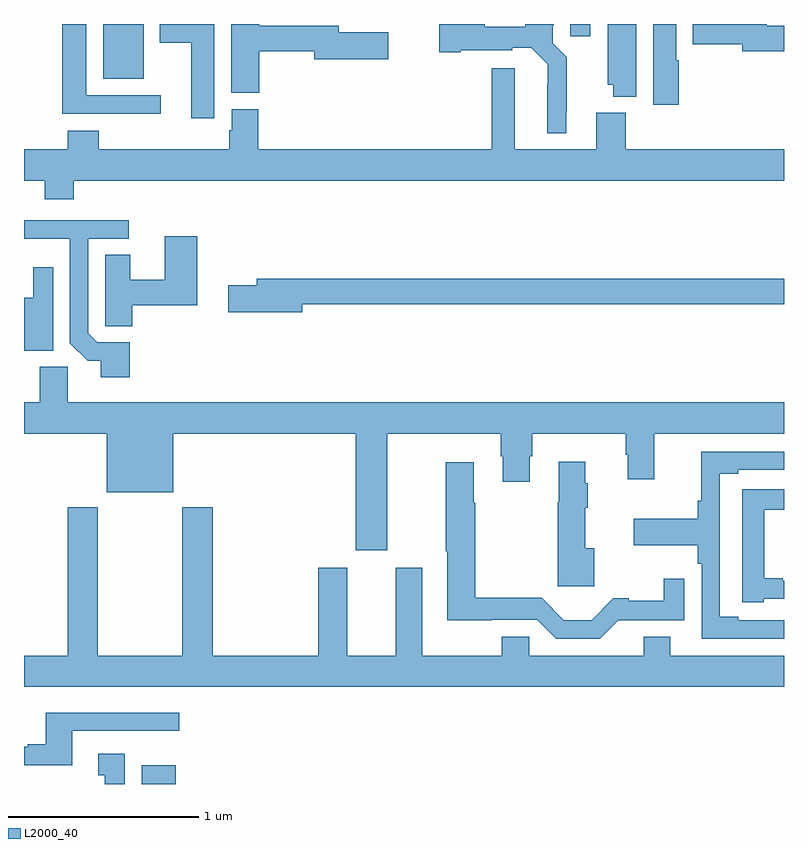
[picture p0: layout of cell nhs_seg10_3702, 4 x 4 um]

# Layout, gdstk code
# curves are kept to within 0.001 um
import gdstk
lib = gdstk.Library(unit=1e-6, precision=1e-09)
def R(c, l, rs):  # rectangles x0, y0, x1, y1
    for r in rs: c.add(gdstk.rectangle(r[:2], r[2:], *l))
def P(c, l, *ps):  # polygons
    for p in ps: c.add(gdstk.Polygon(p, *l))
L2000_40 = (2000, 40)

nhs_seg10_3702 = lib.new_cell('nhs_seg10_3702')
R(nhs_seg10_3702, L2000_40, [(313.619,1270.5,313.798,1270.6), (313.418,1274.213,313.63,1274.5), (315.875,1274.436,315.979,1274.5)])
P(nhs_seg10_3702, L2000_40, [(317,1274.492),(316.909,1274.492),(316.909,1274.5),(316.521,1274.5),(316.521,1274.393),(316.781,1274.393),(316.781,1274.356),(317,1274.356)],
  [(316.445,1274.309),(316.432,1274.309),(316.432,1274.5),(316.313,1274.5),(316.313,1274.076),(316.445,1274.076)],
  [(316.222,1274.5),(316.073,1274.5),(316.073,1274.181),(316.1,1274.181),(316.1,1274.117),(316.222,1274.117)],
  [(313.72,1274.124),(313.327,1274.124),(313.327,1274.5),(313.202,1274.5),(313.202,1274.027),(313.72,1274.027)],
  [(314.237,1274.356),(314.528,1274.356),(314.528,1274.314),(314.917,1274.314),(314.917,1274.456),(314.656,1274.456),(314.656,1274.492),(314.237,1274.492),(314.237,1274.5),(314.09,1274.5),(314.09,1274.137),(314.237,1274.137)],
  [(314.002,1274.5),(313.715,1274.5),(313.715,1274.402),(313.88,1274.402),(313.88,1274.004),(314.002,1274.004)],
  [(315.853,1274.035),(315.857,1274.035),(315.857,1274.326),(315.783,1274.4),(315.783,1274.494),(315.787,1274.494),(315.787,1274.5),(315.638,1274.5),(315.638,1274.485),(315.426,1274.485),(315.426,1274.498),(315.186,1274.498),(315.186,1274.351),(315.298,1274.351),(315.298,1274.363),(315.57,1274.363),(315.57,1274.375),(315.669,1274.375),(315.756,1274.288),(315.755,1273.925),(315.853,1273.925)],
  [(313.262,1273.676),(317,1273.676),(317,1273.84),(316.166,1273.84),(316.166,1274.032),(316.013,1274.032),(316.013,1273.84),(315.583,1273.84),(315.583,1274.266),(315.461,1274.266),(315.461,1273.84),(314.234,1273.84),(314.234,1274.052),(314.093,1274.052),(314.093,1273.941),(314.081,1273.941),(314.081,1273.84),(313.394,1273.84),(313.394,1273.939),(313.229,1273.939),(313.229,1273.84),(313,1273.84),(313,1273.676),(313.109,1273.676),(313.109,1273.577),(313.262,1273.577)],
  [(313.556,1272.825),(313.386,1272.825),(313.338,1272.873),(313.338,1273.371),(313.552,1273.371),(313.552,1273.467),(313,1273.467),(313,1273.37),(313.242,1273.37),(313.242,1272.819),(313.335,1272.727),(313.403,1272.727),(313.403,1272.642),(313.556,1272.642)],
  [(313.571,1273.019),(313.913,1273.019),(313.913,1273.384),(313.742,1273.384),(313.742,1273.153),(313.558,1273.153),(313.558,1273.286),(313.427,1273.286),(313.427,1273.018),(313.428,1273.018),(313.428,1272.91),(313.571,1272.91)],
  [(313.153,1273.219),(313.049,1273.219),(313.049,1273.059),(313,1273.059),(313,1272.781),(313.153,1272.781)],
  [(314.464,1273.024),(317,1273.024),(317,1273.16),(314.225,1273.16),(314.225,1273.124),(314.076,1273.124),(314.076,1272.982),(314.464,1272.982)],
  [(314.911,1272.344),(315.509,1272.344),(315.509,1272.225),(315.521,1272.225),(315.521,1272.09),(315.661,1272.09),(315.661,1272.225),(315.674,1272.225),(315.674,1272.344),(316.166,1272.344),(316.166,1272.233),(316.178,1272.233),(316.178,1272.105),(316.318,1272.105),(316.318,1272.344),(317,1272.344),(317,1272.508),(313.23,1272.508),(313.23,1272.696),(313.084,1272.696),(313.084,1272.508),(313,1272.508),(313,1272.344),(313.436,1272.344),(313.436,1272.035),(313.786,1272.035),(313.786,1272.344),(314.747,1272.344),(314.747,1271.73),(314.911,1271.73)],
  [(317,1271.361),(316.759,1271.361),(316.759,1271.379),(316.662,1271.379),(316.662,1272.133),(316.759,1272.133),(316.759,1272.153),(317,1272.153),(317,1272.249),(316.564,1272.249),(316.564,1271.992),(316.546,1271.992),(316.546,1271.896),(316.209,1271.896),(316.209,1271.756),(316.546,1271.756),(316.546,1271.66),(316.566,1271.66),(316.566,1271.265),(317,1271.265)],
  [(316,1271.741),(315.955,1271.741),(315.955,1271.954),(315.968,1271.954),(315.968,1272.083),(315.955,1272.083),(315.955,1272.196),(315.815,1272.196),(315.815,1271.983),(315.808,1271.983),(315.808,1271.54),(316,1271.54)],
  [(316.127,1271.363),(316.476,1271.363),(316.476,1271.581),(316.368,1271.581),(316.368,1271.465),(316.183,1271.465),(316.183,1271.477),(316.102,1271.477),(315.987,1271.362),(315.842,1271.362),(315.724,1271.48),(315.375,1271.48),(315.375,1271.98),(315.367,1271.98),(315.367,1272.193),(315.22,1272.193),(315.22,1271.725),(315.227,1271.725),(315.227,1271.363),(315.702,1271.364),(315.801,1271.265),(316.029,1271.265)],
  [(316.893,1271.475),(317,1271.475),(317,1271.571),(316.993,1271.571),(316.993,1271.584),(316.897,1271.584),(316.897,1271.943),(317,1271.943),(317,1272.051),(316.781,1272.051),(316.781,1271.457),(316.893,1271.457)],
  [(316.262,1271.275),(316.262,1271.176),(315.66,1271.176),(315.66,1271.274),(315.514,1271.274),(315.514,1271.176),(315.097,1271.176),(315.097,1271.638),(314.957,1271.638),(314.957,1271.176),(314.701,1271.176),(314.701,1271.638),(314.549,1271.638),(314.549,1271.176),(313.994,1271.176),(313.994,1271.956),(313.834,1271.956),(313.834,1271.176),(313.389,1271.176),(313.389,1271.956),(313.229,1271.956),(313.229,1271.176),(313,1271.176),(313,1271.012),(317,1271.012),(317,1271.176),(316.402,1271.176),(316.402,1271.275)],
  [(313.255,1270.779),(313.816,1270.779),(313.816,1270.876),(313.115,1270.876),(313.115,1270.708),(313.019,1270.708),(313.019,1270.695),(313,1270.695),(313,1270.598),(313.255,1270.598)],
  [(313.531,1270.66),(313.391,1270.66),(313.391,1270.547),(313.424,1270.547),(313.424,1270.5),(313.531,1270.5)])

lib.write_gds('nhs_seg10_3702.gds')
